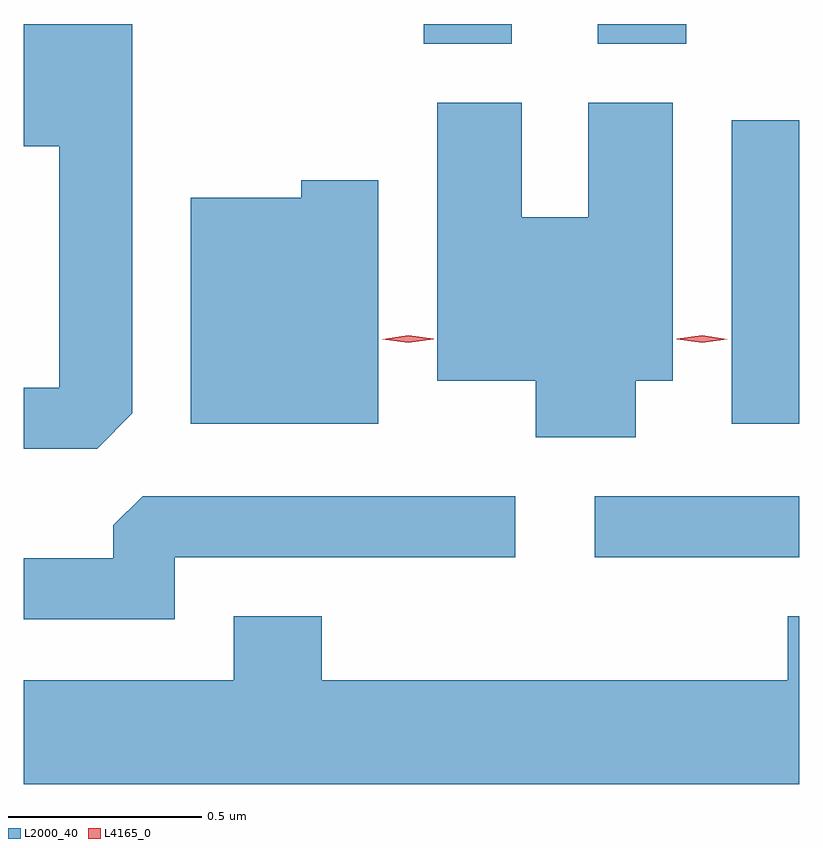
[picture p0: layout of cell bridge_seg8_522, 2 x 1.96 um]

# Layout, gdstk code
import gdstk
lib = gdstk.Library(unit=1e-6, precision=1e-09)
def R(c, l, rs):  # rectangles x0, y0, x1, y1
    for r in rs: c.add(gdstk.rectangle(r[:2], r[2:], *l))
def P(c, l, *ps):  # polygons
    for p in ps: c.add(gdstk.Polygon(p, *l))
L2000_40 = (2000, 40)
L4165_0 = (4165, 0)

bridge_seg8_522 = lib.new_cell('bridge_seg8_522')
R(bridge_seg8_522, L2000_40, [(263.783,1868.081,264.31,1868.239), (264.136,1868.426,264.31,1869.209), (263.341,1869.406,263.569,1869.457), (263.791,1869.406,264.019,1869.457)])
P(bridge_seg8_522, L2000_40, [(262.589,1868.452),(262.589,1869.457),(262.31,1869.457),(262.31,1869.141),(262.401,1869.141),(262.401,1868.519),(262.31,1868.519),(262.31,1868.361),(262.499,1868.361)],
  [(263.889,1868.536),(263.984,1868.536),(263.984,1869.254),(263.766,1869.254),(263.766,1868.959),(263.594,1868.959),(263.594,1869.254),(263.376,1869.254),(263.376,1868.536),(263.631,1868.536),(263.631,1868.391),(263.889,1868.391)],
  [(263.224,1869.054),(263.026,1869.054),(263.026,1869.009),(262.741,1869.009),(262.741,1868.426),(263.224,1868.426)],
  [(262.699,1868.081),(263.578,1868.081),(263.578,1868.239),(262.617,1868.239),(262.541,1868.164),(262.541,1868.079),(262.31,1868.079),(262.31,1867.921),(262.699,1867.921)],
  [(264.31,1867.929),(264.281,1867.929),(264.281,1867.764),(263.079,1867.764),(263.079,1867.929),(262.851,1867.929),(262.851,1867.764),(262.31,1867.764),(262.31,1867.496),(264.31,1867.496)])
P(bridge_seg8_522, L4165_0, [(263.302,1868.634),(263.235,1868.644),(263.234,1868.644),(263.235,1868.644),(263.301,1868.654),(263.368,1868.645),(263.368,1868.644),(263.368,1868.644)],
  [(264.06,1868.634),(263.994,1868.644),(263.994,1868.644),(263.994,1868.645),(264.06,1868.654),(264.125,1868.644),(264.125,1868.644),(264.125,1868.643)])

lib.write_gds('bridge_seg8_522.gds')
